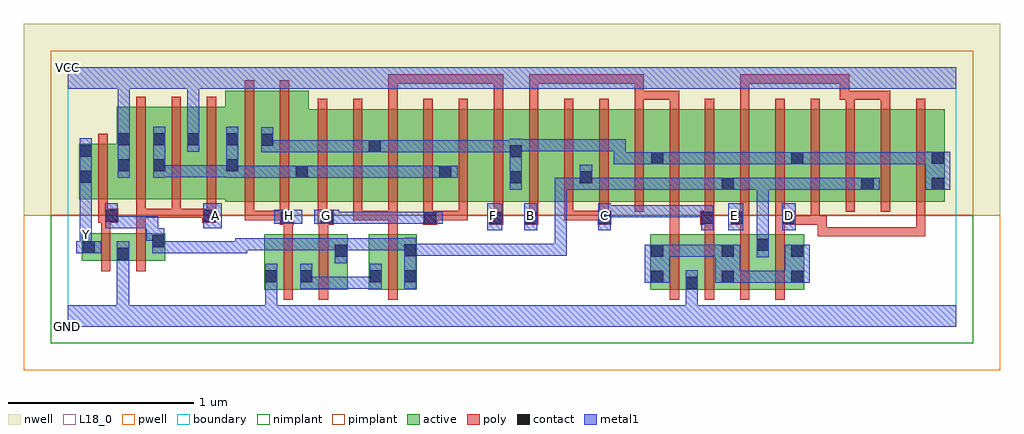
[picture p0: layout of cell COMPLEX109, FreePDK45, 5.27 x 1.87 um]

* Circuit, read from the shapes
.subckt COMPLEX109 A B C D E F G GND H VCC Y
M1 GND n1 Y VSUBS nfet w=0.15u l=0.05u
M2 n1 A GND VSUBS nfet w=0.15u l=0.05u
M3 n2 H GND VSUBS nfet w=0.3u l=0.05u
M4 n1 G n2 VSUBS nfet w=0.3u l=0.05u
M5 n1 F n2 VSUBS nfet w=0.3u l=0.05u
M6 GND B n3 VSUBS nfet w=0.3u l=0.05u
M7 n3 C GND VSUBS nfet w=0.3u l=0.05u
M8 n1 E n3 VSUBS nfet w=0.3u l=0.05u
M9 n3 D n1 VSUBS nfet w=0.3u l=0.05u
M10 VCC n1 Y n4 pfet w=0.3u l=0.05u
M11 n5 A VCC n4 pfet w=0.5u l=0.05u m=3
M12 n6 H n5 n4 pfet w=0.6u l=0.05u m=2
M13 n7 G n5 n4 pfet w=0.5u l=0.05u
M14 n6 F n7 n4 pfet w=0.5u l=0.05u
M15 n8 F n6 n4 pfet w=0.5u l=0.05u
M16 n5 G n8 n4 pfet w=0.5u l=0.05u
M17 n9 G n5 n4 pfet w=0.5u l=0.05u
M18 n6 F n9 n4 pfet w=0.5u l=0.05u
M19 n10 B n6 n4 pfet w=0.5u l=0.05u
M20 n1 C n10 n4 pfet w=0.5u l=0.05u
M21 n11 C n1 n4 pfet w=0.5u l=0.05u
M22 n6 B n11 n4 pfet w=0.5u l=0.05u
M23 n12 B n6 n4 pfet w=0.5u l=0.05u
M24 n1 C n12 n4 pfet w=0.5u l=0.05u
M25 n13 E n1 n4 pfet w=0.5u l=0.05u
M26 n6 D n13 n4 pfet w=0.5u l=0.05u
M27 n14 D n6 n4 pfet w=0.5u l=0.05u
M28 n1 E n14 n4 pfet w=0.5u l=0.05u
M29 n15 E n1 n4 pfet w=0.5u l=0.05u
M30 n6 D n15 n4 pfet w=0.5u l=0.05u
.ends

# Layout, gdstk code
import gdstk
lib = gdstk.Library(unit=1e-6, precision=1e-09)
def R(c, l, rs):  # rectangles x0, y0, x1, y1
    for r in rs: c.add(gdstk.rectangle(r[:2], r[2:], *l))
def A(c, l, x, y, w, h, nx, ny, dx, dy):  # array of equal rectangles
    R(c, l, [(x+i*dx, y+j*dy, x+i*dx+w, y+j*dy+h) for i in range(nx) for j in range(ny)])
active = (1, 0)
pwell = (2, 0)
nwell = (3, 0)
nimplant = (4, 0)
pimplant = (5, 0)
poly = (9, 0)
contact = (10, 0)
metal1 = (11, 0)
L18_0 = (18, 0)
boundary = (235, 0)

complex109 = lib.new_cell('COMPLEX109')
A(complex109, active, 1.472, 0.675, 0.225, 0.5, 4, 1, 0.38, 0)
A(complex109, active, 1.622, 0.675, 0.23, 0.5, 4, 1, 0.38, 0)
A(complex109, active, 3.752, 0.675, 0.225, 0.5, 3, 1, 0.38, 0)
R(complex109, active, [(1.062,0.2,1.137,0.5), (1.062,0.2,1.327,0.5), (1.252,0.2,1.512,0.5), (1.252,0.2,1.327,0.392), (1.627,0.2,1.702,0.5), (1.627,0.2,1.887,0.5), (1.812,0.2,1.887,0.5), (3.147,0.2,3.222,0.5), (3.147,0.2,3.407,0.5), (3.332,0.2,3.602,0.5), (3.332,0.2,3.407,0.392), (3.527,0.2,3.792,0.5), (3.527,0.2,3.602,0.447), (3.717,0.2,3.977,0.5), (3.902,0.2,3.977,0.5), (1.437,0.247,1.512,0.5), (3.717,0.247,3.792,0.48), (0.077,0.355,0.152,0.505), (0.077,0.355,0.337,0.505), (0.262,0.355,0.527,0.505), (0.262,0.355,0.337,0.43), (0.452,0.355,0.527,0.505), (0.852,0.675,1.117,1.275), (1.042,0.675,1.302,1.275), (1.227,0.675,1.302,1.07), (1.227,0.675,1.472,1.175), (2.002,0.675,2.077,1.07), (2.382,0.675,2.457,1.157), (2.762,0.675,2.837,1.07), (2.992,0.675,3.222,1.175), (3.147,0.675,3.372,1.175), (3.372,0.675,3.602,1.175), (3.527,0.675,3.752,1.175), (3.527,0.675,3.602,1.07), (3.902,0.675,4.132,1.175), (4.282,0.675,4.512,1.175), (4.282,0.675,4.357,1.07), (4.662,0.675,4.737,1.157), (3.902,0.682,3.977,1.157), (0.062,0.687,0.137,0.987), (0.062,0.687,0.342,0.987), (0.267,0.687,0.532,1.187), (0.267,0.687,0.342,1.187), (0.457,0.687,0.717,1.187), (0.457,0.687,0.532,1.157), (0.642,0.687,0.927,1.187), (0.852,0.687,0.927,1.2), (1.042,0.707,1.117,1.2), (1.622,0.72,1.697,1.157), (3.147,0.762,3.222,1.157), (0.642,0.807,0.717,1.157)])
R(complex109, pwell, [(-0.235,-0.235,5.035,0.602)])
R(complex109, nwell, [(-0.235,0.602,5.035,1.635)])
R(complex109, nimplant, [(-0.09,-0.09,4.89,0.602)])
R(complex109, pimplant, [(-0.09,0.602,4.89,1.49)])
A(complex109, poly, 3.252, 0.145, 0.05, 0.41, 4, 1, 0.19, 0)
A(complex109, poly, 3.442, 0.505, 0.05, 0.095, 3, 1, 0.19, 0)
A(complex109, poly, 1.352, 0.575, 0.05, 0.095, 9, 1, 0.19, 0)
A(complex109, poly, 3.252, 0.575, 0.05, 0.095, 4, 1, 0.19, 0)
A(complex109, poly, 0.372, 0.587, 0.05, 0.095, 3, 1, 0.19, 0)
A(complex109, poly, 1.352, 0.62, 0.05, 0.61, 18, 1, 0.19, 0)
A(complex109, poly, 0.372, 0.632, 0.05, 0.61, 3, 1, 0.19, 0)
R(complex109, poly, [(1.167,0.145,1.217,0.555), (1.357,0.145,1.407,0.555), (1.732,0.145,1.782,0.555), (0.182,0.3,0.232,0.56), (0.372,0.3,0.422,0.56), (4.05,0.487,4.195,0.537), (4.05,0.487,4.1,0.6), (4.145,0.487,4.195,0.537), (4.145,0.487,4.352,0.537), (4.302,0.487,4.352,0.537), (4.302,0.487,4.385,0.537), (4.335,0.487,4.385,0.537), (4.335,0.487,4.632,0.537), (4.582,0.487,4.632,0.67), (4.582,0.487,4.632,0.537), (4.582,0.487,4.632,0.537), (4.582,0.487,4.632,0.537), (1.167,0.505,1.217,0.6), (1.357,0.505,1.407,0.6), (1.732,0.505,1.782,0.625), (3.252,0.505,3.302,0.625), (0.182,0.51,0.232,0.612), (0.372,0.51,0.422,0.637), (1.147,0.55,1.222,0.625), (1.352,0.55,1.437,0.625), (1.922,0.55,1.997,0.625), (2.277,0.55,2.352,0.625), (2.467,0.55,2.542,0.625), (2.862,0.55,2.937,0.625), (3.417,0.55,3.492,0.625), (3.58,0.55,3.682,0.625), (3.822,0.55,3.93,0.625), (3.88,0.55,3.93,0.6), (3.88,0.55,3.93,0.6), (3.88,0.55,4.062,0.6), (4.012,0.55,4.062,0.6), (4.012,0.55,4.1,0.6), (4.012,0.55,4.062,0.67), (0.167,0.562,0.275,0.637), (0.727,0.562,0.802,0.637), (0.957,0.575,1.007,0.625), (0.957,0.575,1.007,0.625), (0.957,0.575,1.007,0.625), (0.957,0.575,1.007,0.67), (0.957,0.575,1.197,0.625), (1.147,0.575,1.197,0.67), (1.542,0.575,1.592,0.625), (1.542,0.575,1.592,0.625), (1.542,0.575,1.592,0.625), (1.542,0.575,1.782,0.625), (1.732,0.575,1.782,0.625), (1.947,0.575,2.162,0.625), (2.112,0.575,2.162,0.625), (2.112,0.575,2.162,0.625), (2.112,0.575,2.162,0.625), (2.682,0.575,2.732,0.625), (2.682,0.575,2.732,0.625), (2.682,0.575,2.732,0.625), (2.682,0.575,2.912,0.625), (3.252,0.575,3.302,0.625), (0.167,0.587,0.217,0.682), (0.372,0.587,0.422,0.637), (0.372,0.587,0.422,0.637), (0.372,0.587,0.422,0.637), (0.372,0.587,0.612,0.637), (0.562,0.587,0.612,0.637), (0.562,0.587,0.777,0.637), (0.727,0.587,0.777,0.637), (0.727,0.587,0.777,0.637), (0.957,0.62,1.007,1.33), (1.147,0.62,1.197,1.33), (0.167,0.632,0.217,1.042), (1.732,1.18,1.782,1.362), (2.302,1.18,2.352,1.362), (2.492,1.18,2.542,1.362), (3.062,1.18,3.112,1.275), (3.252,1.18,3.302,1.275), (3.632,1.18,3.682,1.362), (4.202,1.18,4.252,1.275), (4.392,1.18,4.442,1.275), (3.062,1.225,3.112,1.275), (3.062,1.225,3.112,1.275), (3.062,1.225,3.302,1.275), (3.062,1.225,3.112,1.362), (3.252,1.225,3.302,1.275), (4.17,1.225,4.252,1.275), (4.17,1.225,4.22,1.362), (4.202,1.225,4.252,1.275), (4.202,1.225,4.442,1.275), (4.392,1.225,4.442,1.275), (4.392,1.225,4.442,1.275), (4.392,1.225,4.442,1.275), (1.732,1.312,1.782,1.362), (1.732,1.312,2.03,1.362), (1.98,1.312,2.03,1.362), (1.98,1.312,2.03,1.362), (1.98,1.312,2.03,1.362), (1.98,1.312,2.162,1.362), (2.112,1.312,2.162,1.362), (2.112,1.312,2.162,1.362), (2.112,1.312,2.162,1.362), (2.112,1.312,2.352,1.362), (2.302,1.312,2.352,1.362), (2.302,1.312,2.352,1.362), (2.302,1.312,2.352,1.362), (2.492,1.312,2.542,1.362), (2.492,1.312,2.542,1.362), (2.492,1.312,2.542,1.362), (2.492,1.312,2.675,1.362), (2.625,1.312,2.675,1.362), (2.625,1.312,2.675,1.362), (2.625,1.312,2.675,1.362), (2.625,1.312,2.98,1.362), (2.93,1.312,2.98,1.362), (2.93,1.312,2.98,1.362), (2.93,1.312,2.98,1.362), (2.93,1.312,3.112,1.362), (3.632,1.312,3.682,1.362), (3.632,1.312,3.797,1.362), (3.747,1.312,3.797,1.362), (3.747,1.312,3.815,1.362), (3.765,1.312,3.815,1.362), (3.765,1.312,3.967,1.362), (3.917,1.312,3.967,1.362), (3.917,1.312,4.062,1.362), (4.012,1.312,4.062,1.362), (4.012,1.312,4.22,1.362)])
R(complex109, contact, [(3.337,0.205,3.402,0.27), (3.152,0.237,3.217,0.302), (3.532,0.237,3.597,0.302), (3.907,0.237,3.972,0.302), (1.067,0.24,1.132,0.305), (1.257,0.24,1.322,0.305), (1.632,0.24,1.697,0.305), (1.817,0.24,1.882,0.305), (0.267,0.36,0.332,0.425), (1.442,0.377,1.507,0.442), (3.152,0.377,3.217,0.442), (3.532,0.377,3.597,0.442), (3.907,0.377,3.972,0.442), (1.817,0.38,1.882,0.445), (0.082,0.395,0.147,0.46), (3.722,0.41,3.787,0.475), (0.457,0.43,0.522,0.495), (1.152,0.555,1.217,0.62), (1.367,0.555,1.432,0.62), (1.927,0.555,1.992,0.62), (2.282,0.555,2.347,0.62), (2.472,0.555,2.537,0.62), (2.867,0.555,2.932,0.62), (3.422,0.555,3.487,0.62), (3.585,0.555,3.65,0.62), (3.86,0.555,3.925,0.62), (0.205,0.567,0.27,0.632), (0.732,0.567,0.797,0.632), (3.532,0.74,3.597,0.805), (4.287,0.74,4.352,0.805), (4.667,0.74,4.732,0.805), (2.387,0.775,2.452,0.84), (2.767,0.775,2.832,0.84), (0.067,0.777,0.132,0.842), (1.232,0.805,1.297,0.87), (2.007,0.805,2.072,0.87), (0.272,0.84,0.337,0.905), (0.462,0.84,0.527,0.905), (0.857,0.84,0.922,0.905), (3.152,0.877,3.217,0.942), (3.907,0.877,3.972,0.942), (4.667,0.88,4.732,0.945), (2.387,0.915,2.452,0.98), (0.067,0.917,0.132,0.982), (1.627,0.942,1.692,1.007), (1.047,0.977,1.112,1.042), (0.272,0.98,0.337,1.045), (0.462,0.98,0.527,1.045), (0.647,0.98,0.712,1.045), (0.857,0.98,0.922,1.045)])
R(complex109, metal1, [(0,0,4.8,0.115), (0.267,0.05,0.332,0.39), (1.067,0.05,1.132,0.115), (1.067,0.05,1.132,0.115), (1.067,0.05,1.132,0.27), (3.337,0.05,3.402,0.235), (3.337,0.17,3.402,0.235), (3.337,0.17,3.402,0.235), (3.337,0.17,3.402,0.305), (1.067,0.205,1.132,0.34), (1.257,0.205,1.322,0.34), (1.257,0.205,1.47,0.27), (1.405,0.205,1.607,0.27), (1.405,0.205,1.47,0.27), (1.405,0.205,1.47,0.27), (1.405,0.205,1.47,0.27), (1.542,0.205,1.607,0.27), (1.542,0.205,1.697,0.27), (1.632,0.205,1.697,0.34), (1.817,0.205,1.882,0.48), (3.117,0.237,3.252,0.442), (3.497,0.237,3.632,0.442), (3.567,0.237,3.632,0.302), (3.567,0.237,3.632,0.302), (3.567,0.237,3.787,0.302), (3.722,0.237,3.787,0.302), (3.722,0.237,3.925,0.302), (3.86,0.237,3.925,0.302), (3.86,0.237,3.937,0.302), (3.872,0.237,4.007,0.442), (0.267,0.325,0.332,0.39), (0.267,0.325,0.332,0.39), (0.267,0.325,0.332,0.39), (0.267,0.325,0.332,0.39), (0.267,0.325,0.332,0.46), (1.442,0.342,1.507,0.477), (3.722,0.375,3.787,0.51), (3.187,0.377,3.252,0.442), (3.187,0.377,3.252,0.442), (3.187,0.377,3.39,0.442), (3.325,0.377,3.39,0.442), (3.325,0.377,3.462,0.442), (3.397,0.377,3.462,0.442), (3.397,0.377,3.562,0.442), (1.817,0.382,1.945,0.447), (1.88,0.382,1.945,0.447), (1.88,0.382,2.02,0.447), (1.955,0.382,2.02,0.447), (1.955,0.382,2.082,0.447), (2.017,0.382,2.082,0.447), (2.017,0.382,2.22,0.447), (2.155,0.382,2.22,0.447), (2.155,0.382,2.22,0.447), (2.155,0.382,2.22,0.447), (2.155,0.382,2.532,0.447), (2.467,0.382,2.532,0.447), (2.467,0.382,2.532,0.447), (2.467,0.382,2.532,0.447), (2.467,0.382,2.695,0.447), (2.63,0.382,2.695,0.447), (2.63,0.382,2.695,0.447), (2.63,0.382,2.695,0.447), (2.63,0.382,2.695,0.805), (0.047,0.395,0.182,0.46), (0.067,0.395,0.132,0.497), (0.457,0.395,0.522,0.53), (0.457,0.395,0.627,0.46), (0.562,0.395,0.627,0.46), (0.562,0.395,0.765,0.46), (0.7,0.395,0.765,0.46), (0.7,0.395,0.765,0.46), (0.7,0.395,0.765,0.46), (0.7,0.395,0.97,0.46), (0.905,0.395,0.97,0.477), (0.905,0.412,1.107,0.477), (0.905,0.412,0.97,0.477), (0.905,0.412,0.97,0.477), (1.042,0.412,1.107,0.477), (1.042,0.412,1.107,0.477), (1.042,0.412,1.107,0.477), (1.042,0.412,1.332,0.477), (1.267,0.412,1.332,0.477), (1.267,0.412,1.332,0.477), (1.267,0.412,1.332,0.477), (1.267,0.412,1.507,0.477), (1.442,0.412,1.607,0.477), (1.542,0.412,1.607,0.477), (1.542,0.412,1.745,0.477), (1.68,0.412,1.882,0.477), (1.68,0.412,1.745,0.477), (1.68,0.412,1.745,0.477), (1.68,0.412,1.745,0.477), (0.067,0.432,0.132,0.567), (3.722,0.445,3.787,0.51), (3.722,0.445,3.787,0.51), (3.722,0.445,3.787,0.805), (0.425,0.465,0.522,0.53), (0.425,0.465,0.49,0.597), (0.067,0.502,0.132,0.807), (2.267,0.52,2.347,0.667), (2.467,0.52,2.537,0.667), (2.867,0.52,2.932,0.667), (3.422,0.52,3.487,0.655), (3.567,0.52,3.65,0.667), (3.86,0.52,3.932,0.667), (0.205,0.532,0.27,0.667), (0.205,0.532,0.32,0.597), (0.255,0.532,0.32,0.597), (0.255,0.532,0.32,0.597), (0.255,0.532,0.32,0.597), (0.255,0.532,0.49,0.597), (0.732,0.532,0.832,0.667), (1.117,0.555,1.267,0.632), (1.332,0.555,1.467,0.632), (1.402,0.555,1.47,0.62), (1.405,0.555,1.607,0.62), (1.405,0.555,1.47,0.62), (1.542,0.555,1.607,0.62), (1.542,0.555,1.745,0.62), (1.68,0.555,1.882,0.62), (1.68,0.555,1.745,0.62), (1.68,0.555,1.745,0.62), (1.68,0.555,1.745,0.62), (1.817,0.555,1.882,0.62), (1.817,0.555,1.957,0.62), (1.892,0.555,2.027,0.62), (2.867,0.59,2.97,0.655), (2.905,0.59,3.107,0.655), (2.905,0.59,2.97,0.655), (3.042,0.59,3.107,0.655), (3.042,0.59,3.252,0.655), (3.187,0.59,3.252,0.655), (3.187,0.59,3.287,0.655), (3.222,0.59,3.287,0.655), (3.222,0.59,3.39,0.655), (3.325,0.59,3.39,0.655), (3.325,0.59,3.487,0.655), (2.387,0.74,2.452,1.015), (2.63,0.74,2.832,0.805), (2.63,0.74,2.695,0.805), (2.63,0.74,2.695,0.805), (2.63,0.74,2.695,0.805), (2.767,0.74,2.97,0.805), (2.767,0.74,2.832,0.875), (2.905,0.74,3.107,0.805), (2.905,0.74,2.97,0.805), (2.905,0.74,2.97,0.805), (2.905,0.74,2.97,0.805), (3.042,0.74,3.107,0.805), (3.042,0.74,3.245,0.805), (3.18,0.74,3.245,0.805), (3.18,0.74,3.245,0.805), (3.18,0.74,3.245,0.805), (3.18,0.74,3.425,0.805), (3.36,0.74,3.425,0.805), (3.36,0.74,3.495,0.805), (3.43,0.74,3.495,0.805), (3.43,0.74,3.562,0.805), (3.497,0.74,3.632,0.805), (3.567,0.74,3.632,0.805), (3.567,0.74,3.632,0.805), (3.567,0.74,3.787,0.805), (3.722,0.74,3.787,0.805), (3.722,0.74,3.83,0.805), (3.765,0.74,3.83,0.805), (3.765,0.74,3.925,0.805), (3.86,0.74,4.062,0.805), (3.86,0.74,3.925,0.805), (3.997,0.74,4.062,0.805), (3.997,0.74,4.145,0.805), (4.08,0.74,4.145,0.805), (4.08,0.74,4.26,0.805), (4.195,0.74,4.26,0.805), (4.195,0.74,4.317,0.805), (4.252,0.74,4.387,0.805), (4.632,0.74,4.767,0.945), (0.067,0.742,0.132,1.017), (0.272,0.805,0.337,1.08), (0.462,0.805,0.527,1.08), (0.857,0.805,0.922,0.87), (0.857,0.805,0.922,0.87), (0.857,0.805,0.922,1.08), (0.857,0.805,1.107,0.87), (1.042,0.805,1.107,0.87), (1.042,0.805,1.107,0.87), (1.042,0.805,1.107,0.87), (1.042,0.805,1.262,0.87), (1.197,0.805,1.332,0.87), (1.267,0.805,1.47,0.87), (1.405,0.805,1.607,0.87), (1.405,0.805,1.47,0.87), (1.405,0.805,1.47,0.87), (1.405,0.805,1.47,0.87), (1.542,0.805,1.607,0.87), (1.542,0.805,1.745,0.87), (1.68,0.805,1.882,0.87), (1.68,0.805,1.745,0.87), (1.68,0.805,1.745,0.87), (1.68,0.805,1.745,0.87), (1.817,0.805,1.882,0.87), (1.817,0.805,1.882,0.87), (1.817,0.805,1.882,0.87), (1.817,0.805,2.037,0.87), (1.972,0.805,2.107,0.87), (0.462,0.807,0.627,0.872), (0.562,0.807,0.627,0.872), (0.562,0.807,0.785,0.872), (0.72,0.807,0.922,0.872), (0.72,0.807,0.785,0.872), (0.72,0.807,0.785,0.872), (0.72,0.807,0.785,0.872), (2.95,0.877,3.015,1.012), (2.95,0.877,3.107,0.942), (3.042,0.877,3.107,0.942), (3.042,0.877,3.182,0.942), (3.117,0.877,3.252,0.942), (3.187,0.877,3.325,0.942), (3.26,0.877,3.325,0.942), (3.26,0.877,3.39,0.942), (3.325,0.877,3.39,0.942), (3.325,0.877,3.462,0.942), (3.397,0.877,3.462,0.942), (3.397,0.877,3.562,0.942), (3.497,0.877,3.562,0.942), (3.497,0.877,3.692,0.942), (3.627,0.877,3.692,0.942), (3.627,0.877,3.77,0.942), (3.705,0.877,3.77,0.942), (3.705,0.877,3.925,0.942), (3.86,0.877,3.925,0.942), (3.86,0.877,3.937,0.942), (3.872,0.877,4.007,0.942), (3.942,0.877,4.122,0.942), (4.057,0.877,4.122,0.942), (4.057,0.877,4.145,0.942), (4.08,0.877,4.145,0.942), (4.08,0.877,4.285,0.942), (4.22,0.877,4.422,0.942), (4.22,0.877,4.285,0.942), (4.22,0.877,4.285,0.942), (4.22,0.877,4.285,0.942), (4.357,0.877,4.422,0.942), (4.357,0.877,4.56,0.942), (4.495,0.877,4.697,0.942), (4.495,0.877,4.56,0.942), (4.495,0.877,4.56,0.942), (4.495,0.877,4.56,0.942), (1.047,0.942,1.112,1.007), (1.047,0.942,1.112,1.007), (1.047,0.942,1.112,1.077), (1.047,0.942,1.332,1.007), (1.267,0.942,1.332,1.007), (1.267,0.942,1.332,1.007), (1.267,0.942,1.332,1.007), (1.267,0.942,1.47,1.007), (1.405,0.942,1.607,1.007), (1.405,0.942,1.47,1.007), (1.542,0.942,1.607,1.007), (1.542,0.942,1.657,1.007), (1.592,0.942,1.727,1.007), (1.662,0.942,1.745,1.007), (1.68,0.942,1.882,1.007), (1.68,0.942,1.745,1.007), (1.817,0.942,1.882,1.007), (1.817,0.942,1.882,1.007), (1.817,0.942,1.882,1.007), (1.817,0.942,2.075,1.007), (2.01,0.942,2.075,1.007), (2.01,0.942,2.082,1.007), (2.017,0.942,2.082,1.007), (2.017,0.942,2.315,1.007), (2.25,0.942,2.315,1.007), (2.25,0.942,2.395,1.007), (2.33,0.942,2.395,1.007), (2.33,0.942,2.452,1.007), (0.647,0.945,0.712,1.08), (2.387,0.947,2.557,1.012), (2.492,0.947,2.557,1.012), (2.492,0.947,2.695,1.012), (2.63,0.947,2.832,1.012), (2.63,0.947,2.695,1.012), (2.63,0.947,2.695,1.012), (2.63,0.947,2.695,1.012), (2.767,0.947,2.832,1.012), (2.767,0.947,2.917,1.012), (2.852,0.947,2.917,1.012), (2.852,0.947,3.015,1.012), (0.272,1.015,0.337,1.35), (0.647,1.015,0.712,1.08), (0.647,1.015,0.712,1.08), (0.647,1.015,0.712,1.35), (0,1.285,4.8,1.4), (0.272,1.285,0.337,1.35), (0.272,1.285,0.337,1.35)])
R(complex109, L18_0, [(0,0,4.8,0.115), (0.267,0.05,0.332,0.39), (1.067,0.05,1.132,0.115), (1.067,0.05,1.132,0.115), (1.067,0.05,1.132,0.27), (3.337,0.05,3.402,0.235), (3.337,0.17,3.402,0.305), (3.337,0.17,3.402,0.235), (3.337,0.17,3.402,0.235), (1.067,0.205,1.132,0.34), (0.267,0.325,0.332,0.46), (0.267,0.325,0.332,0.39), (0.267,0.325,0.332,0.39), (0.267,0.325,0.332,0.39), (0.267,0.325,0.332,0.39), (0.047,0.395,0.182,0.46), (0.067,0.395,0.132,0.497), (0.067,0.432,0.132,0.567), (0.067,0.467,0.132,0.532), (0.067,0.502,0.132,0.807), (2.267,0.52,2.347,0.667), (2.467,0.52,2.537,0.667), (2.867,0.52,2.932,0.667), (3.422,0.52,3.487,0.655), (3.567,0.52,3.65,0.667), (3.86,0.52,3.932,0.667), (0.732,0.532,0.832,0.667), (1.117,0.555,1.267,0.632), (1.332,0.555,1.467,0.632), (1.402,0.555,1.47,0.62), (1.405,0.555,1.47,0.62), (1.405,0.555,1.607,0.62), (1.542,0.555,1.607,0.62), (1.542,0.555,1.745,0.62), (1.68,0.555,1.745,0.62), (1.68,0.555,1.745,0.62), (1.68,0.555,1.745,0.62), (1.68,0.555,1.882,0.62), (1.817,0.555,1.882,0.62), (1.817,0.555,1.957,0.62), (1.892,0.555,2.027,0.62), (0.767,0.567,0.832,0.632), (1.167,0.567,1.232,0.632), (1.367,0.567,1.432,0.632), (2.267,0.567,2.332,0.632), (2.467,0.567,2.532,0.632), (2.867,0.567,2.932,0.632), (3.567,0.567,3.632,0.632), (3.867,0.567,3.932,0.632), (2.867,0.59,2.97,0.655), (2.905,0.59,2.97,0.655), (2.905,0.59,3.107,0.655), (3.042,0.59,3.107,0.655), (3.042,0.59,3.252,0.655), (3.187,0.59,3.252,0.655), (3.187,0.59,3.287,0.655), (3.222,0.59,3.287,0.655), (3.222,0.59,3.39,0.655), (3.325,0.59,3.39,0.655), (3.325,0.59,3.487,0.655), (0.067,0.742,0.132,1.017), (0.272,0.805,0.337,1.08), (0.647,0.945,0.712,1.08), (0.272,1.015,0.337,1.35), (0.647,1.015,0.712,1.08), (0.647,1.015,0.712,1.08), (0.647,1.015,0.712,1.35), (0,1.285,4.8,1.4), (0.272,1.285,0.337,1.35), (0.272,1.285,0.337,1.35)])
R(complex109, boundary, [(0,0,4.8,1.4)])
complex109.add(gdstk.Label('A', (0.8,0.6), layer=11, texttype=0))
complex109.add(gdstk.Label('B', (2.5,0.6), layer=11, texttype=0))
complex109.add(gdstk.Label('C', (2.9,0.6), layer=11, texttype=0))
complex109.add(gdstk.Label('D', (3.9,0.6), layer=11, texttype=0))
complex109.add(gdstk.Label('E', (3.6,0.6), layer=11, texttype=0))
complex109.add(gdstk.Label('F', (2.3,0.6), layer=11, texttype=0))
complex109.add(gdstk.Label('G', (1.4,0.6), layer=11, texttype=0))
complex109.add(gdstk.Label('H', (1.2,0.6), layer=11, texttype=0))
complex109.add(gdstk.Label('Y', (0.1,0.5), layer=11, texttype=0))
complex109.add(gdstk.Label('VCC', (0,1.4), layer=11, texttype=0))
complex109.add(gdstk.Label('GND', (0,0), layer=11, texttype=0))

lib.write_gds('COMPLEX109.gds')
